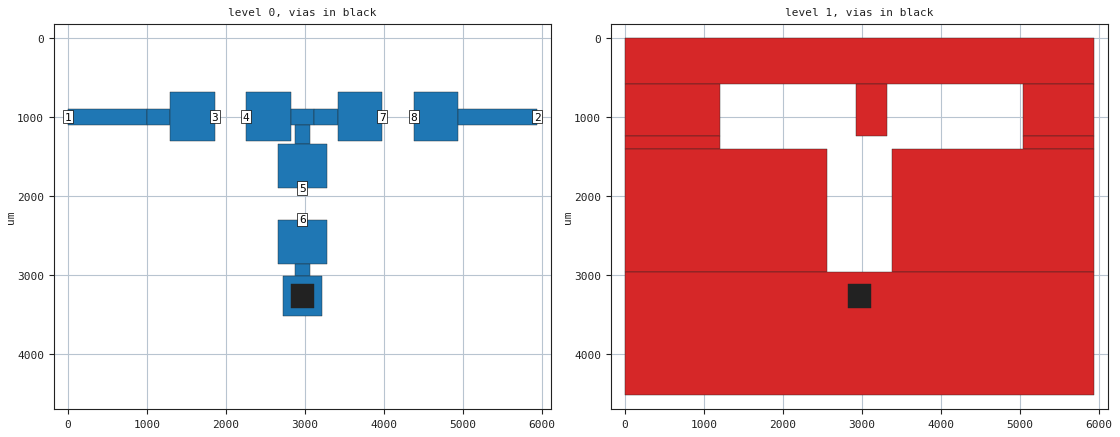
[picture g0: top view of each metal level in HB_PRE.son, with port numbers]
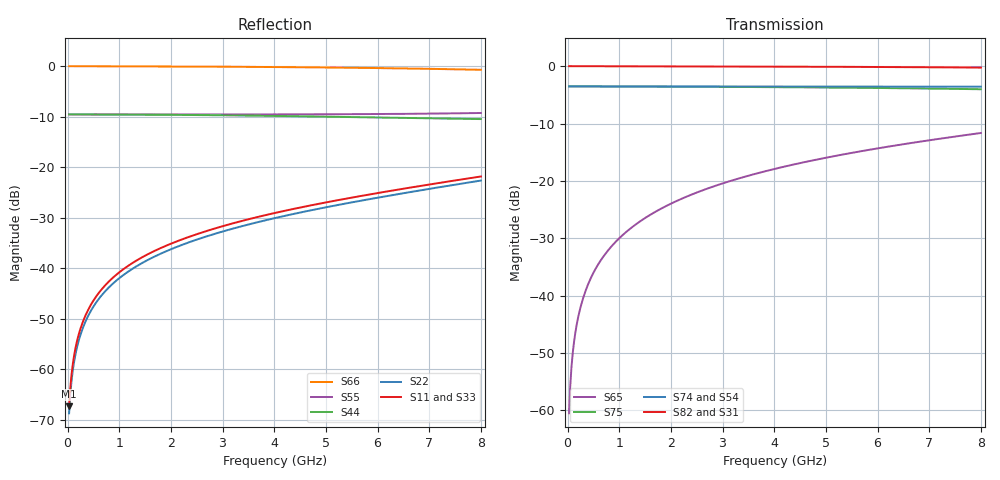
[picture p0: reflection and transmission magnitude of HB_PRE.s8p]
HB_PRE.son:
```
FTYP SONPROJ 1 ! Sonnet Project File
VER 19.54
HEADER
END HEADER
DIM
FREQ GHZ
IND NH
LNG UM
ANG DEG
CON /OH
CAP PF
RES OH
END DIM
FREQ
ABS 0.0300 8.0000
END FREQ
CONTROL
ABS
OPTIONS  -d
SPEED 0
RES_ABS 300
END CONTROL
GEO
TMET "Lossless" 0 SUP 0 0 0 0
BMET "Lossless" 0 SUP 0 0 0 0
MET "Cu35" 1 NOR 5.8e7 0 35
BOX 2 5940.0000 4520.0000 594 452 20 0
      1000.0000 1 1 0 0 0 0 "Air"
      99.4000 4.1000 1 0.0200 0 0 0 "PP3313"
      1265.0000 4.5000 1 0.0200 0 0 0 "Core"
POR1 STD
POLY 1 1
3
1 50 0 0 0 0.0000 1000.0000
POR1 STD
POLY 14 1
1
2 50 0 0 0 5940.0000 1000.0000
POR1 AGND
POLY 3 1
1
3 50 0 0 0 1860.0000 1000.0000 FIX 0
POR1 AGND
POLY 4 1
3
4 50 0 0 0 2260.0000 1000.0000 FIX 0
POR1 AGND
POLY 7 1
2
5 50 0 0 0 2970.0000 1900.0000 FIX 0
POR1 AGND
POLY 8 1
0
6 50 0 0 0 2970.0000 2300.0000 FIX 0
POR1 AGND
POLY 12 1
1
7 50 0 0 0 3980.0000 1000.0000 FIX 0
POR1 AGND
POLY 13 1
3
8 50 0 0 0 4380.0000 1000.0000 FIX 0
NUM 24
1 5 0 N 15 1 1 100 100 0 0 0 Y
0.0000 0.0000
5940.0000 0.0000
5940.0000 590.0000
0.0000 590.0000
0.0000 0.0000
END
1 5 0 N 16 1 1 100 100 0 0 0 Y
0.0000 590.0000
1200.0000 590.0000
1200.0000 1240.0000
0.0000 1240.0000
0.0000 590.0000
END
1 5 0 N 17 1 1 100 100 0 0 0 Y
2920.0000 590.0000
3320.0000 590.0000
3320.0000 1240.0000
2920.0000 1240.0000
2920.0000 590.0000
END
1 5 0 N 18 1 1 100 100 0 0 0 Y
5040.0000 590.0000
5940.0000 590.0000
5940.0000 1240.0000
5040.0000 1240.0000
5040.0000 590.0000
END
1 5 0 N 19 1 1 100 100 0 0 0 Y
0.0000 1240.0000
1200.0000 1240.0000
1200.0000 1410.0000
0.0000 1410.0000
0.0000 1240.0000
END
1 5 0 N 20 1 1 100 100 0 0 0 Y
5040.0000 1240.0000
5940.0000 1240.0000
5940.0000 1410.0000
5040.0000 1410.0000
5040.0000 1240.0000
END
1 5 0 N 21 1 1 100 100 0 0 0 Y
0.0000 1410.0000
2560.0000 1410.0000
2560.0000 2960.0000
0.0000 2960.0000
0.0000 1410.0000
END
1 5 0 N 22 1 1 100 100 0 0 0 Y
3380.0000 1410.0000
5940.0000 1410.0000
5940.0000 2960.0000
3380.0000 2960.0000
3380.0000 1410.0000
END
1 5 0 N 23 1 1 100 100 0 0 0 Y
0.0000 2960.0000
5940.0000 2960.0000
5940.0000 4520.0000
0.0000 4520.0000
0.0000 2960.0000
END
0 5 0 N 1 1 1 100 100 0 0 0 Y
0.0000 900.0000
1000.0000 900.0000
1000.0000 1100.0000
0.0000 1100.0000
0.0000 900.0000
END
0 5 0 N 2 1 1 100 100 0 0 0 Y
1000.0000 900.0000
1300.0000 900.0000
1300.0000 1100.0000
1000.0000 1100.0000
1000.0000 900.0000
END
0 5 0 N 3 1 1 100 100 0 0 0 Y
1300.0000 690.0000
1860.0000 690.0000
1860.0000 1310.0000
1300.0000 1310.0000
1300.0000 690.0000
END
0 5 0 N 4 1 1 100 100 0 0 0 Y
2260.0000 690.0000
2820.0000 690.0000
2820.0000 1310.0000
2260.0000 1310.0000
2260.0000 690.0000
END
0 5 0 N 5 1 1 100 100 0 0 0 Y
2820.0000 900.0000
3120.0000 900.0000
3120.0000 1100.0000
2820.0000 1100.0000
2820.0000 900.0000
END
0 5 0 N 6 1 1 100 100 0 0 0 Y
2880.0000 1100.0000
3070.0000 1100.0000
3070.0000 1340.0000
2880.0000 1340.0000
2880.0000 1100.0000
END
0 5 0 N 7 1 1 100 100 0 0 0 Y
2660.0000 1340.0000
3280.0000 1340.0000
3280.0000 1900.0000
2660.0000 1900.0000
2660.0000 1340.0000
END
0 5 0 N 8 1 1 100 100 0 0 0 Y
2660.0000 2300.0000
3280.0000 2300.0000
3280.0000 2860.0000
2660.0000 2860.0000
2660.0000 2300.0000
END
0 5 0 N 9 1 1 100 100 0 0 0 Y
2880.0000 2860.0000
3070.0000 2860.0000
3070.0000 3020.0000
2880.0000 3020.0000
2880.0000 2860.0000
END
0 5 0 N 10 1 1 100 100 0 0 0 Y
2720.0000 3020.0000
3220.0000 3020.0000
3220.0000 3520.0000
2720.0000 3520.0000
2720.0000 3020.0000
END
0 5 0 N 11 1 1 100 100 0 0 0 Y
3120.0000 900.0000
3420.0000 900.0000
3420.0000 1100.0000
3120.0000 1100.0000
3120.0000 900.0000
END
0 5 0 N 12 1 1 100 100 0 0 0 Y
3420.0000 690.0000
3980.0000 690.0000
3980.0000 1310.0000
3420.0000 1310.0000
3420.0000 690.0000
END
0 5 0 N 13 1 1 100 100 0 0 0 Y
4380.0000 690.0000
4940.0000 690.0000
4940.0000 1310.0000
4380.0000 1310.0000
4380.0000 690.0000
END
0 5 0 N 14 1 1 100 100 0 0 0 Y
4940.0000 900.0000
5940.0000 900.0000
5940.0000 1100.0000
4940.0000 1100.0000
4940.0000 900.0000
END
VIA POLYGON
0 5 0 V 24 1 1 100 100 0 0 0 Y
TOLEVEL GND RING COVERS
2820.0000 3120.0000
3120.0000 3120.0000
3120.0000 3420.0000
2820.0000 3420.0000
2820.0000 3120.0000
END
END GEO
FILEOUT
TS D Y $BASENAME.s8p 15 S RI R 50.00000
END FILEOUT
```
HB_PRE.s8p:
! Sonnet Data File
! From: em Version : 19.54.2026
! From Project: HB_PRE
! Data is De-embedded
! Data File Written: 11/09/2026 22:37:52
!< HDATE 11/09/2026 22:37:23
!< MDATE 11/09/2026 22:37:23
# GHZ S RI R 50.00000
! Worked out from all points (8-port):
!   320 points, 30 MHz to 8 GHz, reference 50 ohm
!   strongest paths, dB at 30 MHz, 2.025 GHz, 4.025 GHz, 6.025 GHz, 8 GHz:
!     S82: 0.0, 0.0, -0.1, -0.1, -0.3
!     S31: 0.0, 0.0, -0.1, -0.2, -0.3
!     S74: -3.5, -3.5, -3.5, -3.5, -3.6
!     S54: -3.5, -3.6, -3.6, -3.8, -4.0
!     S75: -3.5, -3.6, -3.7, -3.8, -4.0
!     S65: -60.5, -23.9, -17.9, -14.3, -11.6
!   lowest |S11| = -67.3 dB at 30 MHz (marker M1), VSWR 1.00, Z = 50 + j0.0408 ohm
!   |S11| at or under -10 dB: start of sweep to end of sweep
